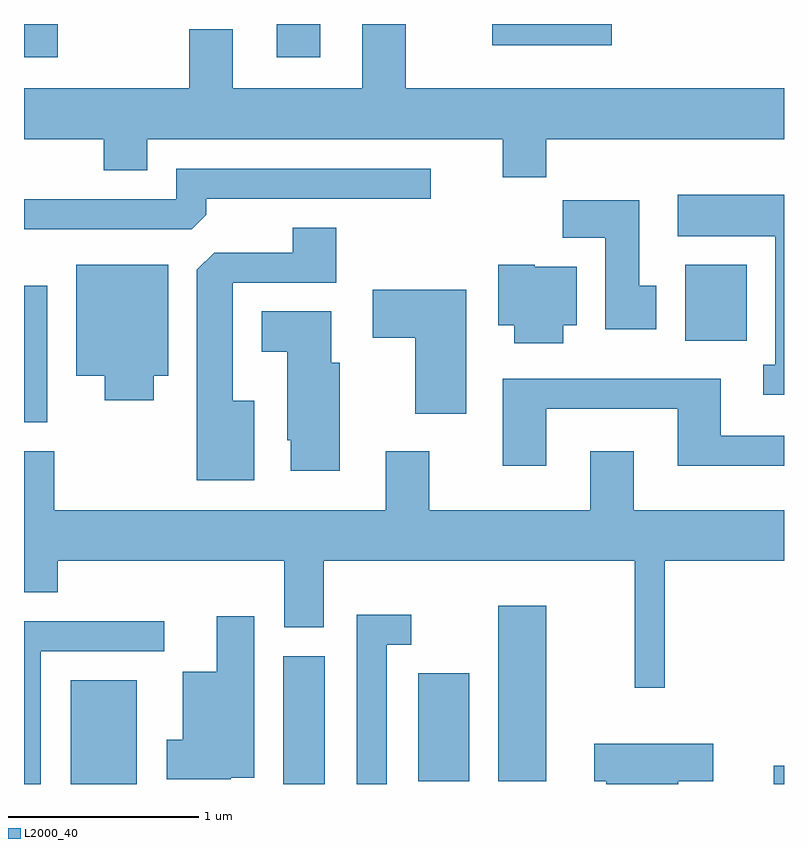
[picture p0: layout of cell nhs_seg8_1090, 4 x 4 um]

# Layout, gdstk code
import gdstk
lib = gdstk.Library(unit=1e-6, precision=1e-09)
def R(c, l, rs):  # rectangles x0, y0, x1, y1
    for r in rs: c.add(gdstk.rectangle(r[:2], r[2:], *l))
def P(c, l, *ps):  # polygons
    for p in ps: c.add(gdstk.Polygon(p, *l))
L2000_40 = (2000, 40)

nhs_seg8_1090 = lib.new_cell('nhs_seg8_1090')
R(nhs_seg8_1090, L2000_40, [(217.856,1846.342,218.204,1846.889), (218.976,1846.342,219.194,1847.014), (221.556,1846.342,221.611,1846.439), (219.686,1846.356,219.954,1846.924), (220.106,1846.356,220.359,1847.279), (217.611,1848.246,217.734,1848.964), (221.091,1848.676,221.414,1849.074), (217.611,1850.166,217.789,1850.342), (218.941,1850.166,219.169,1850.342), (220.076,1850.231,220.704,1850.342)])
P(nhs_seg8_1090, L2000_40, [(220.359,1849.736),(221.611,1849.736),(221.611,1850.004),(219.619,1850.004),(219.619,1850.342),(219.391,1850.342),(219.391,1850.004),(218.709,1850.004),(218.709,1850.314),(218.481,1850.314),(218.481,1850.004),(217.611,1850.004),(217.611,1849.736),(218.031,1849.736),(218.031,1849.571),(218.259,1849.571),(218.259,1849.736),(220.131,1849.736),(220.131,1849.536),(220.359,1849.536)],
  [(218.569,1849.337),(218.569,1849.421),(219.753,1849.421),(219.753,1849.579),(218.411,1849.579),(218.411,1849.419),(217.611,1849.419),(217.611,1849.261),(218.494,1849.261)],
  [(221.611,1849.444),(221.051,1849.444),(221.051,1849.226),(221.566,1849.226),(221.566,1848.549),(221.503,1848.549),(221.503,1848.391),(221.611,1848.391)],
  [(220.939,1848.964),(220.849,1848.964),(220.849,1849.414),(220.446,1849.414),(220.446,1849.216),(220.671,1849.216),(220.671,1848.736),(220.939,1848.736)],
  [(218.824,1848.359),(218.709,1848.359),(218.709,1848.981),(219.254,1848.981),(219.254,1849.269),(219.026,1849.269),(219.026,1849.139),(218.612,1849.139),(218.521,1849.049),(218.521,1847.941),(218.824,1847.941)],
  [(220.449,1848.756),(220.519,1848.756),(220.519,1849.064),(220.3,1849.064),(220.3,1849.074),(220.106,1849.074),(220.106,1848.756),(220.191,1848.756),(220.191,1848.661),(220.449,1848.661)],
  [(218.294,1848.491),(218.369,1848.491),(218.369,1849.074),(217.886,1849.074),(217.886,1848.491),(218.036,1848.491),(218.036,1848.361),(218.294,1848.361)],
  [(219.939,1848.944),(219.446,1848.944),(219.446,1848.691),(219.671,1848.691),(219.671,1848.291),(219.939,1848.291)],
  [(219.274,1848.559),(219.229,1848.559),(219.229,1848.829),(218.861,1848.829),(218.861,1848.616),(218.996,1848.616),(218.996,1848.151),(219.016,1848.151),(219.016,1847.991),(219.274,1847.991)],
  [(220.359,1848.316),(221.051,1848.316),(221.051,1848.016),(221.611,1848.016),(221.611,1848.174),(221.279,1848.174),(221.279,1848.474),(220.131,1848.474),(220.131,1848.016),(220.359,1848.016)],
  [(220.984,1847.516),(221.611,1847.516),(221.611,1847.784),(220.819,1847.784),(220.819,1848.094),(220.591,1848.094),(220.591,1847.784),(219.744,1847.784),(219.744,1848.094),(219.516,1848.094),(219.516,1847.784),(217.769,1847.784),(217.769,1848.094),(217.611,1848.094),(217.611,1847.351),(217.789,1847.351),(217.789,1847.516),(218.981,1847.516),(218.981,1847.166),(219.189,1847.166),(219.189,1847.516),(220.826,1847.516),(220.826,1846.848),(220.984,1846.848)],
  [(219.519,1847.076),(219.648,1847.076),(219.648,1847.234),(219.361,1847.234),(219.361,1846.342),(219.519,1846.342)],
  [(218.7,1846.376),(218.824,1846.376),(218.824,1847.224),(218.626,1847.224),(218.626,1846.934),(218.446,1846.934),(218.446,1846.574),(218.361,1846.574),(218.361,1846.366),(218.7,1846.366)],
  [(217.699,1847.041),(218.348,1847.041),(218.348,1847.199),(217.611,1847.199),(217.611,1846.342),(217.699,1846.342)],
  [(221.054,1846.356),(221.239,1846.356),(221.239,1846.554),(220.611,1846.554),(220.611,1846.356),(220.676,1846.356),(220.676,1846.342),(221.054,1846.342)])

lib.write_gds('nhs_seg8_1090.gds')
